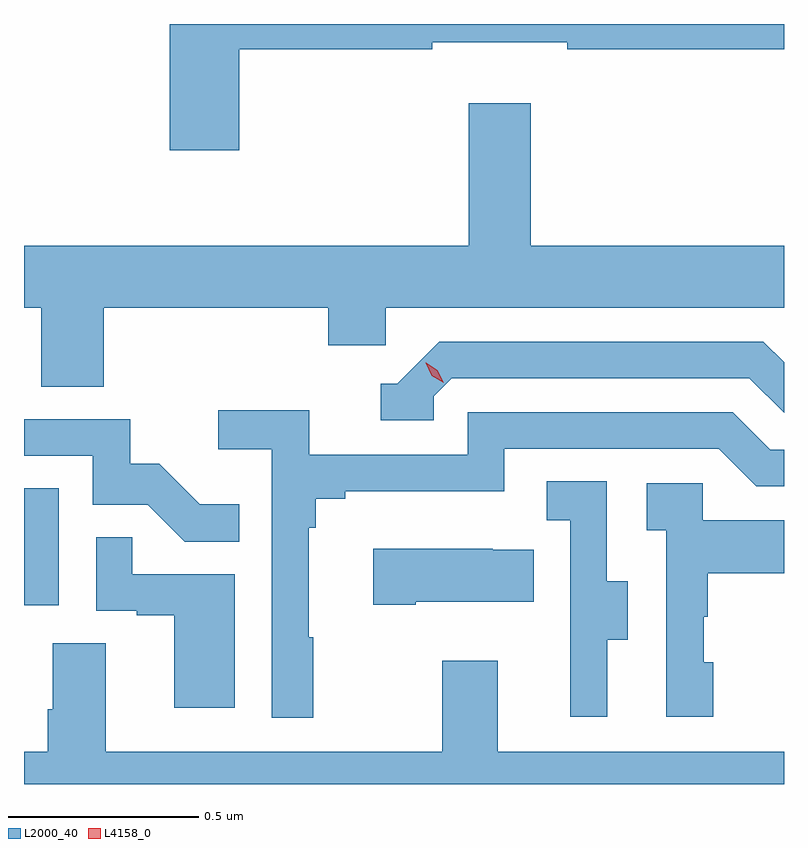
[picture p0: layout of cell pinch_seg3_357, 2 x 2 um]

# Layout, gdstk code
import gdstk
lib = gdstk.Library(unit=1e-6, precision=1e-09)
def R(c, l, rs):  # rectangles x0, y0, x1, y1
    for r in rs: c.add(gdstk.rectangle(r[:2], r[2:], *l))
def P(c, l, *ps):  # polygons
    for p in ps: c.add(gdstk.Polygon(p, *l))
L2000_40 = (2000, 40)
L4158_0 = (4158, 0)

pinch_seg3_357 = lib.new_cell('pinch_seg3_357')
R(pinch_seg3_357, L2000_40, [(979.022,702.798,979.114,703.105)])
P(pinch_seg3_357, L2000_40, [(979.589,704.26),(980.096,704.26),(980.096,704.279),(980.452,704.279),(980.452,704.26),(981.022,704.26),(981.022,704.327),(979.406,704.327),(979.406,703.995),(979.589,703.995)],
  [(979.232,703.58),(979.823,703.58),(979.823,703.482),(979.974,703.482),(979.974,703.58),(981.022,703.58),(981.022,703.744),(980.356,703.744),(980.356,704.119),(980.192,704.119),(980.192,703.744),(979.022,703.744),(979.022,703.58),(979.067,703.58),(979.067,703.372),(979.232,703.372)],
  [(980.1,703.347),(980.148,703.395),(980.931,703.395),(981.022,703.304),(981.022,703.437),(980.968,703.491),(980.115,703.491),(980.004,703.38),(979.961,703.38),(979.961,703.284),(980.1,703.284)],
  [(979.783,702.713),(979.771,702.713),(979.771,703.001),(979.79,703.001),(979.79,703.078),(979.867,703.078),(979.867,703.097),(980.286,703.097),(980.286,703.209),(980.85,703.209),(980.949,703.11),(981.022,703.11),(981.022,703.206),(980.986,703.206),(980.887,703.305),(980.19,703.305),(980.19,703.194),(979.772,703.194),(979.772,703.31),(979.533,703.31),(979.533,703.208),(979.674,703.208),(979.674,702.501),(979.783,702.501)],
  [(979.589,703.063),(979.485,703.063),(979.378,703.17),(979.302,703.17),(979.302,703.287),(979.022,703.287),(979.022,703.191),(979.203,703.191),(979.203,703.062),(979.347,703.062),(979.445,702.964),(979.589,702.964)],
  [(980.557,702.706),(980.611,702.706),(980.611,702.861),(980.556,702.861),(980.556,703.124),(980.397,703.124),(980.397,703.021),(980.46,703.021),(980.46,702.717),(980.459,702.717),(980.459,702.504),(980.557,702.504)],
  [(980.836,702.648),(980.811,702.648),(980.811,702.767),(980.821,702.767),(980.821,702.881),(981.022,702.881),(981.022,703.021),(980.808,703.021),(980.808,703.119),(980.661,703.119),(980.661,702.995),(980.712,702.995),(980.712,702.504),(980.836,702.504)],
  [(979.576,702.879),(979.307,702.879),(979.307,702.977),(979.212,702.977),(979.212,702.783),(979.319,702.783),(979.319,702.771),(979.418,702.771),(979.418,702.528),(979.576,702.528)],
  [(980.053,702.806),(980.363,702.806),(980.363,702.943),(980.255,702.943),(980.255,702.946),(979.941,702.946),(979.941,702.799),(980.053,702.799)],
  [(981.022,702.412),(980.269,702.412),(980.269,702.652),(980.122,702.652),(980.122,702.412),(979.237,702.412),(979.237,702.698),(979.097,702.698),(979.097,702.524),(979.085,702.524),(979.085,702.412),(979.022,702.412),(979.022,702.327),(981.022,702.327)])
P(pinch_seg3_357, L4158_0, [(980.126,703.383),(980.095,703.402),(980.079,703.435),(980.079,703.435),(980.08,703.435),(980.11,703.416),(980.126,703.383),(980.126,703.383)])

lib.write_gds('pinch_seg3_357.gds')
